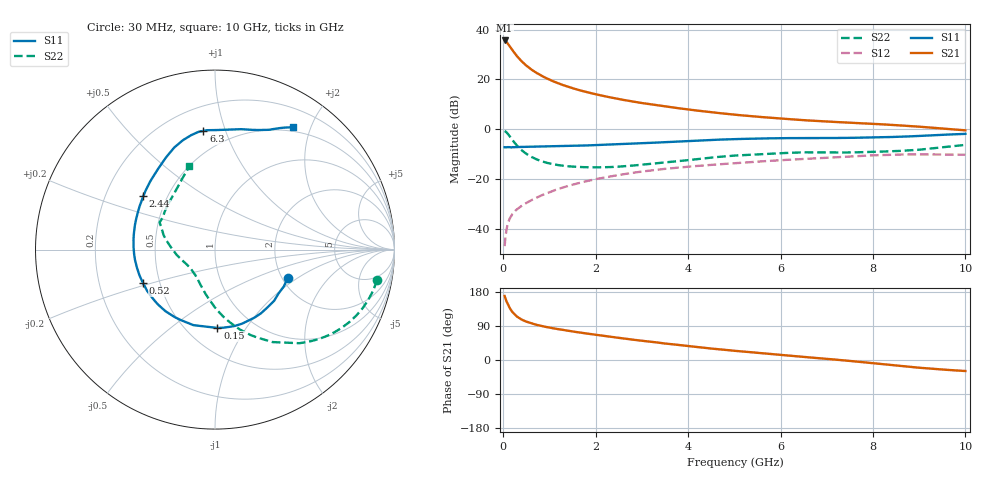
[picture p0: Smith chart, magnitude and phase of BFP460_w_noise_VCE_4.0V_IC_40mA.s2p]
! (c) 2016  Infineon Technologies AG, Munich
! Infineon Technologies  Discrete & RF Semiconductors
! BFP460
! VCE =  4.0 V,  IC =  40 mA
! Common Emitter S-Parameters:  Jan 2016
# GHz  S  MA  R  50
!  f  S11  S21  S12  S22
! GHz  MAG  ANG  MAG  ANG  MAG  ANG  MAG  ANG
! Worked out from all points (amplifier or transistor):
!   229 points, 30 MHz to 10 GHz, reference 50 ohm
!   highest |S21| = 35.6 dB at 30 MHz (marker M1)
!   |S21| within 3 dB of that: start of sweep to 165.3 MHz
!   unconditionally stable (mu >= 1): 1.336 GHz to 7.499 GHz
!   at 280 MHz: K = 0.57, MSG = 31.1 dB, |S12| = -32.4 dB
!   at 1.78 GHz: K = 1.02, MAG = 17.1 dB, |S12| = -20.9 dB
!   at 10 GHz: K = 0.97, MSG = 4.9 dB, |S12| = -10.2 dB
!   lowest NFmin = 1.63 dB at 3.5 GHz
!   S11 on the Smith chart (normalised r, x): 30 MHz: 2.14, -0.84; 150 MHz: 0.69, -0.75; 520 MHz: 0.40, -0.19; 2.44 GHz: 0.37, +0.29; 6.3 GHz: 0.36, +0.84; 10 GHz: 0.44, +1.73
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0.03  0.4352 -21.4  60.56 168.9  0.0045 83.4  0.9186 -10.6
0.05  0.4303 -34.8  58.38 161.7  0.0071 78.7  0.8992 -18.0
0.07  0.4349 -48.0  56.39 155.2  0.0094 74.8  0.8684 -25.1
0.09  0.4382 -60.0  53.63 149.5  0.0118 71.0  0.8289 -31.8
0.12  0.4394 -75.4  49.23 141.7  0.0145 66.8  0.7655 -40.5
0.15  0.4367 -88.3  44.9 135.0  0.0168 63.5  0.7018 -48.0
0.2  0.4377 -105.9  38.6 126.3  0.02 60.1  0.6069 -58.1
0.24  0.4366 -116.3  34.37 121.0  0.0221 58.7  0.5439 -64.3
0.3  0.4404 -128.8  29.18 114.3  0.0248 57.8  0.4674 -72.6
0.4  0.441 -143.3  23.06 106.6  0.029 58.1  0.3792 -82.6
0.52  0.4423 -154.9  18.36 100.5  0.0339 59.2  0.313 -91.3
0.7  0.4464 -167.0  13.88 93.5  0.0415 60.8  0.2534 -101.8
1  0.4532 179.8  9.889 85.5  0.0546 62.1  0.2058 -114.4
1.3  0.4599 170.1  7.667 79.1  0.0681 61.9  0.1852 -123.8
1.7  0.4703 159.6  5.905 71.8  0.0861 60.2  0.1739 -133.8
2.44  0.498 143.4  4.141 59.4  0.1185 55.1  0.1764 -150.8
3.4  0.5446 126.7  2.96 45.1  0.1565 46.9  0.2105 -170.3
5.1  0.6379 105.5  1.925 23.3  0.2111 33.5  0.2989 163.8
6.3  0.6648 95.6  1.568 10.3  0.2471 24.3  0.3388 154.7
6.8  0.6659 91.2  1.464 5.1  0.2614 20.8  0.343 152.6
8.4  0.6988 72.7  1.224 -13.4  0.308 6.4  0.3615 137.0
10  0.8077 57.6  0.951 -29.1  0.3081 -6.3  0.4855 107.1
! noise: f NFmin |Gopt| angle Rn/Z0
0.45  1.67  0.27  -170  0.11
0.9  1.7  0.24  -162  0.13
1.9  1.79  0.34  -141  0.14
3.5  1.63  0.57  -118  0.22
